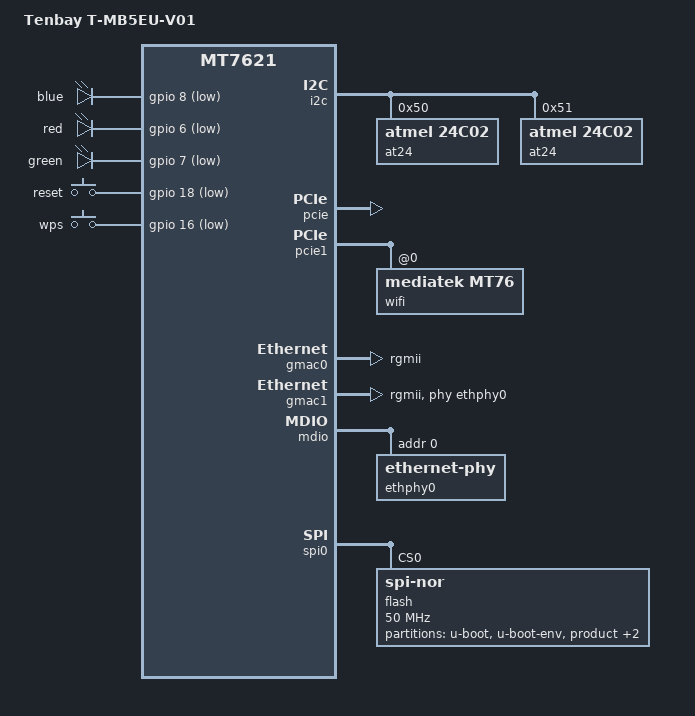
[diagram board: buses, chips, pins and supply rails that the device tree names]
// SPDX-License-Identifier: GPL-2.0-or-later OR MIT

#include "mt7621.dtsi"

#include <dt-bindings/gpio/gpio.h>
#include <dt-bindings/input/input.h>

/ {
	compatible = "tenbay,t-mb5eu-v01", "mediatek,mt7621-soc";
	model = "Tenbay T-MB5EU-V01";

	aliases {
		led-boot = &led_green;
		led-failsafe = &led_red;
		led-running = &led_blue;
		led-upgrade = &led_red;
		label-mac-device = &gmac1;
	};

	chosen {
		bootargs = "console=ttyS0,115200";
		bootargs-override = "console=ttyS0,115200";
	};

	leds {
		compatible = "gpio-leds";
		pinctrl-names = "default";

		led_blue: blue {
			label = "blue";
			gpios = <&gpio 8 GPIO_ACTIVE_LOW>;
			default-state = "off";
		};

		led_red: red {
			label = "red";
			gpios = <&gpio 6 GPIO_ACTIVE_LOW>;
			default-state = "off";
		};

		led_green: green {
			label = "green";
			gpios = <&gpio 7 GPIO_ACTIVE_LOW>;
		};
	};

	keys {
		compatible = "gpio-keys";
		pinctrl-names = "default";

		reset {
			label = "reset";
			gpios = <&gpio 18 GPIO_ACTIVE_LOW>;
			linux,code = <KEY_RESTART>;
		};

		wps {
			label = "wps";
			gpios = <&gpio 16 GPIO_ACTIVE_LOW>;
			linux,code = <KEY_WPS_BUTTON>;
		};
	};
};

&i2c {
	status = "okay";

	at24@50 {
		compatible = "atmel,24c02";
		reg = <0x50>;
		pagesize = <16>;
	};

	at24@51 {
		compatible = "atmel,24c02";
		reg = <0x51>;
		pagesize = <16>;
	};
};

&pcie {
	status = "okay";
};

&pcie1 {
	wifi@0,0 {
		compatible = "mediatek,mt76";
		reg = <0x0 0 0 0 0>;
		mediatek,mtd-eeprom = <&factory 0x0000>;
		mediatek,disable-radar-background;
	};
};

&gmac0 {
	phy-mode = "rgmii";
	nvmem-cells = <&macaddr_factory_4 (-1)>;
	nvmem-cell-names = "mac-address";
};

&gmac1 {
	status = "okay";
	label = "wan";
	phy-mode = "rgmii";
	phy-handle = <&ethphy0>;

	nvmem-cells = <&macaddr_factory_4 (-2)>;
	nvmem-cell-names = "mac-address";
	mac-address-increment = <(-2)>;
};

&mdio {
	ethphy0: ethernet-phy@0 {
		reg = <0>;
	};
};

&switch0 {
	ports {
		port@1 {
			status = "okay";
			label = "lan1";
		};

		port@2 {
			status = "okay";
			label = "lan2";
		};

		port@3 {
			status = "okay";
			label = "lan3";
		};

		port@4 {
			status = "okay";
			label = "lan4";
		};
	};
};

&state_default {
	gpio {
		groups = "uart2", "uart3";
		function = "gpio";
	};
};

&spi0 {
	status = "okay";

	flash@0 {
		compatible = "jedec,spi-nor";
		reg = <0>;
		spi-max-frequency = <50000000>;

		partitions {
			compatible = "fixed-partitions";
			#address-cells = <1>;
			#size-cells = <1>;

			partition@0 {
				label = "u-boot";
				reg = <0x0 0x30000>;
				read-only;
			};

			partition@30000 {
				label = "u-boot-env";
				reg = <0x30000 0x10000>;
				read-only;
			};

			partition@40000 {
				label = "product";
				reg = <0x40000 0x10000>;
				read-only;
			};

			factory: partition@50000 {
				label = "factory";
				reg = <0x50000 0x40000>;
				read-only;
			};

			partition@90000 {
				compatible = "denx,fit";
				label = "firmware";
				reg = <0x90000 0xf70000>;
			};
		};
	};
};

&sdhci {
	status = "disabled";
};


&factory {
	compatible = "nvmem-cells";
	#address-cells = <1>;
	#size-cells = <1>;

	macaddr_factory_4: macaddr@4 {
		reg = <0x4 0x6>;
	};
};
